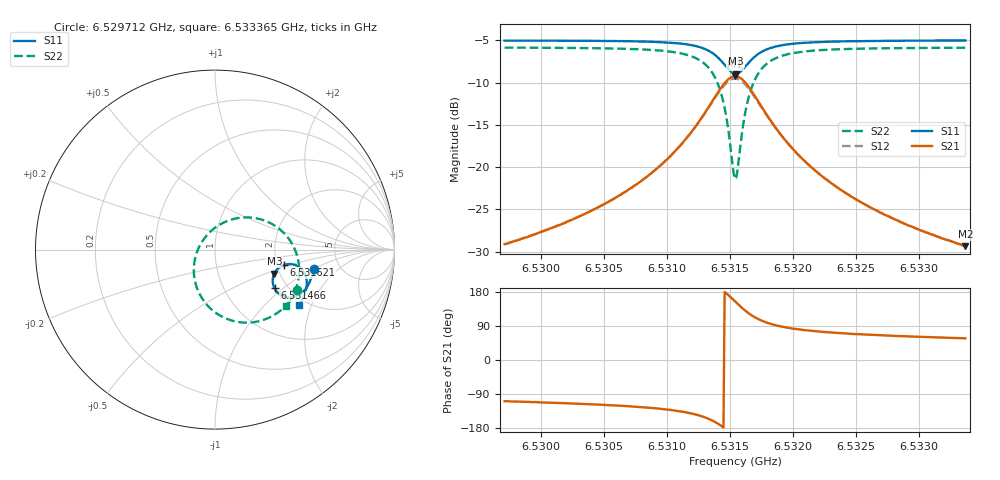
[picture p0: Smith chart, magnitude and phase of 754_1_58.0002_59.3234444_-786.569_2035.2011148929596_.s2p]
#  HZ  S  RI  R  50.00
! Rohde & Schwarz Vector Network Analyzer
! Rohde-Schwarz,ZNB20-2Port,1311601062101988,3.16
! Created: UTC 3/21/2024, 1:24:06 AM
! freq[Hz]  re:S11  im:S11  re:S21  im:S21  re:S12  im:S12  re:S22  im:S22
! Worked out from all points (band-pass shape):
!   401 points, 6.529712 GHz to 6.533365 GHz, reference 50 ohm
!   highest |S21| = -9.24 dB at 6.531539 GHz (marker M1); lowest = -29.4 dB at 6.533365 GHz (marker M2)
!   |S21| within 3 dB of the highest: 6.531358 GHz to 6.531723 GHz (365.3 kHz wide, 0.00559 % of centre)
!   lowest |S11| = -9.0 dB at 6.531548 GHz (marker M3), VSWR 2.11, Z = 93.7 - j28.6 ohm
!   |S11| at or under -10 dB: nowhere
!   |S22| runs from -21.4 to -5.9 dB; largest |S21 - S12| = 0.015
!   S11 on the Smith chart (normalised r, x): 6.529712 GHz: 3.20, -1.00; 6.531466 GHz: 1.71, -0.87; 6.531621 GHz: 2.19, -0.44; 6.533365 GHz: 1.81, -1.64
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6.5297124e9  0.5498 -0.1071  -0.0112 -0.0331  -0.0119 -0.0328  0.456 -0.2267
6.5303243e9  0.5358 -0.1589  -0.0225 -0.0467  -0.0238 -0.0462  0.4186 -0.2846
6.5306622e9  0.5222 -0.1914  -0.0369 -0.0606  -0.0385 -0.0595  0.3812 -0.3254
6.5309362e9  0.5023 -0.2226  -0.0624 -0.0788  -0.0648 -0.0767  0.324 -0.3675
6.5311462e9  0.4715 -0.2506  -0.108 -0.0977  -0.111 -0.0936  0.2328 -0.4016
6.5313106e9  0.4182 -0.2669  -0.1911 -0.0988  -0.1928 -0.0903  0.0825 -0.392
6.5314019e9  0.3674 -0.2536  -0.2687 -0.0591  -0.2659 -0.0475  -0.0435 -0.3091
6.5314384e9  0.3454 -0.2356  -0.3006 -0.022  -0.2942 -0.0103  -0.0894 -0.2403
6.5314658e9  0.3315 -0.2157  -0.3191 0.0164  -0.3098 0.027  -0.1122 -0.173
6.5315206e9  0.3222 -0.1617  -0.3238 0.1137  -0.3104 0.1185  -0.1006 -0.0131
6.5315389e9  0.3267 -0.1425  -0.3124 0.1468  -0.2988 0.1492  -0.0757 0.0385
6.531548e9  0.3305 -0.1333  -0.3044 0.1623  -0.2909 0.1636  -0.0595 0.0624
6.5315663e9  0.3406 -0.1167  -0.2838 0.1906  -0.2712 0.1896  -0.0211 0.1046
6.5316211e9  0.3845 -0.0852  -0.203 0.242  -0.1948 0.2374  0.1204 0.1746
6.5316485e9  0.4079 -0.0804  -0.162 0.2492  -0.1559 0.2444  0.1897 0.1793
6.531685e9  0.4354 -0.0825  -0.1144 0.2455  -0.1105 0.2411  0.2685 0.1643
6.5317764e9  0.4802 -0.1069  -0.0384 0.2078  -0.0366 0.2056  0.3909 0.0846
6.5319133e9  0.5055 -0.147  0.00574 0.1517  0.00703 0.1508  0.4553 -0.0268
6.5321508e9  0.5114 -0.1946  0.0227 0.0961  0.0239 0.0957  0.4676 -0.1395
6.5324339e9  0.5047 -0.2315  0.0239 0.0645  0.025 0.0642  0.4537 -0.2101
6.5327627e9  0.4929 -0.2632  0.022 0.0457  0.0228 0.0453  0.4336 -0.2592
6.5333654e9  0.4682 -0.31  0.0184 0.0286  0.019 0.0282  0.3978 -0.3165
